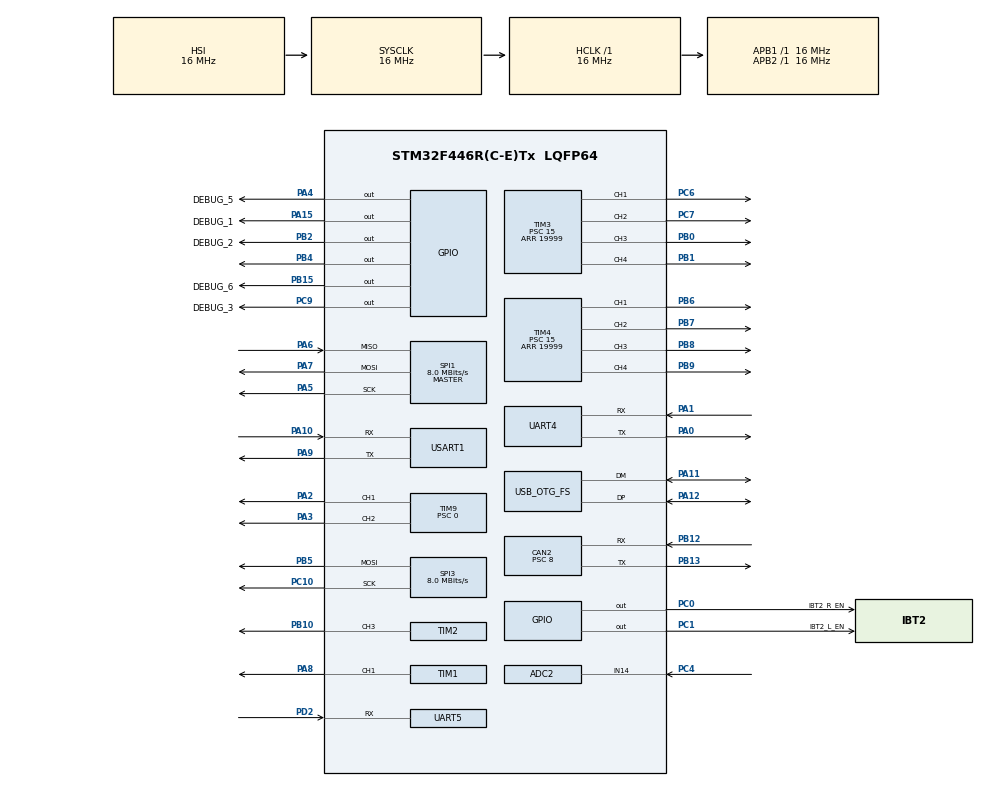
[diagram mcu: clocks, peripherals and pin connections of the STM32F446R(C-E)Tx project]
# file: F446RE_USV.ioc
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ADC2.Channel-2\#ChannelRegularConversion=ADC_CHANNEL_14
ADC2.ContinuousConvMode=ENABLE
ADC2.NbrOfConversionFlag=1
ADC2.Rank-2\#ChannelRegularConversion=1
ADC2.SamplingTime-2\#ChannelRegularConversion=ADC_SAMPLETIME_15CYCLES
CAN2.ABOM=DISABLE
CAN2.AWUM=DISABLE
CAN2.BS1=CAN_BS1_13TQ
CAN2.BS2=CAN_BS2_2TQ
CAN2.CalculateBaudRate=125000
CAN2.CalculateTimeBit=8000
CAN2.CalculateTimeQuantum=500.0
CAN2.Mode=CAN_MODE_NORMAL
CAN2.NART=DISABLE
CAN2.Prescaler=8
CAN2.SJW=CAN_SJW_1TQ
CAN2.TTCM=DISABLE
Dma.UART5_RX.0.Direction=DMA_PERIPH_TO_MEMORY
Dma.UART5_RX.0.FIFOMode=DMA_FIFOMODE_ENABLE
Dma.UART5_RX.0.FIFOThreshold=DMA_FIFO_THRESHOLD_FULL
Dma.UART5_RX.0.Instance=DMA1_Stream0
Dma.UART5_RX.0.MemBurst=DMA_MBURST_SINGLE
Dma.UART5_RX.0.MemDataAlignment=DMA_MDATAALIGN_BYTE
Dma.UART5_RX.0.MemInc=DMA_MINC_ENABLE
Dma.UART5_RX.0.Mode=DMA_NORMAL
Dma.UART5_RX.0.PeriphBurst=DMA_PBURST_SINGLE
Dma.UART5_RX.0.PeriphDataAlignment=DMA_PDATAALIGN_BYTE
Dma.UART5_RX.0.PeriphInc=DMA_PINC_DISABLE
Dma.UART5_RX.0.Priority=DMA_PRIORITY_HIGH
FREERTOS.Tasks01=defaultTask,24,128,StartDefaultTask,Default,NULL,Dynamic,NULL,NULL
FREERTOS.configENABLE_FPU=1
FREERTOS.configGENERATE_RUN_TIME_STATS=1
FREERTOS.configUSE_NEWLIB_REENTRANT=1
FREERTOS.configUSE_PREEMPTION=1
FREERTOS.configUSE_STATS_FORMATTING_FUNCTIONS=1
Mcu.Family=STM32F4
Mcu.Name=STM32F446R(C-E)Tx
Mcu.Package=LQFP64
PA4.GPIO_Label=DEBUG_5
PA4.Signal=GPIO_Output
NVIC.CAN2_RX0_IRQn=true\:5\:0\:false\:false\:true\:true\:true\:true\:true
NVIC.CAN2_RX1_IRQn=false
NVIC.DMA1_Stream0_IRQn=true\:5\:0\:false\:false\:true\:true\:true\:true\:true
NVIC.OTG_FS_IRQn=true\:5\:0\:false\:false\:true\:true\:false\:true\:true
NVIC.UART5_IRQn=true\:6\:0\:false\:false\:true\:true\:true\:true\:true
NVIC.PriorityGroup=NVIC_PRIORITYGROUP_4
NVIC.TIM8_TRG_COM_TIM14_IRQn=true\:15\:0\:false\:false\:true\:false\:false\:true\:true
NVIC.TimeBase=TIM8_TRG_COM_TIM14_IRQn
NVIC.TimeBaseIP=TIM14
PA0-WKUP.Mode=Asynchronous
PA0-WKUP.Signal=UART4_TX
PA1.Mode=Asynchronous
PA1.Signal=UART4_RX
PA10.Mode=Asynchronous
PA10.Signal=USART1_RX
PA11.Mode=Device_Only
PA11.Signal=USB_OTG_FS_DM
PA12.Mode=Device_Only
PA12.Signal=USB_OTG_FS_DP
PA13.Mode=Trace_Asynchronous_SW
PA13.Signal=SYS_JTMS-SWDIO
PA14.Mode=Trace_Asynchronous_SW
PA14.Signal=SYS_JTCK-SWCLK
PA15.GPIO_Label=DEBUG_1
PA15.Signal=GPIO_Output
PA3.Signal=S_TIM9_CH2
PA2.Signal=S_TIM9_CH1
PA5.Mode=Full_Duplex_Master
PA5.Signal=SPI1_SCK
PA6.Mode=Full_Duplex_Master
PA6.Signal=SPI1_MISO
PA7.Mode=Full_Duplex_Master
PA7.Signal=SPI1_MOSI
PA9.Mode=Asynchronous
PA9.Signal=USART1_TX
PB0.Signal=S_TIM3_CH3
PB1.Signal=S_TIM3_CH4
PB12.Mode=CAN_Activate
PB12.Signal=CAN2_RX
PB13.Mode=CAN_Activate
PB13.Signal=CAN2_TX
PB15.GPIO_Label=DEBUG_6
PB15.Signal=GPIO_Output
PB2.GPIO_Label=DEBUG_2
PB2.Signal=GPIO_Output
PB3.Mode=Trace_Asynchronous_SW
PB3.Signal=SYS_JTDO-SWO
PB4.Signal=GPIO_Output
PB5.Mode=TX_Only_Simplex_Unidirect_Master
PB5.Signal=SPI3_MOSI
PB6.Signal=S_TIM4_CH1
PB7.Signal=S_TIM4_CH2
PB8.Signal=S_TIM4_CH3
PB9.Signal=S_TIM4_CH4
PB10.Signal=S_TIM2_CH3
PA8.Signal=S_TIM1_CH1
PC10.Mode=TX_Only_Simplex_Unidirect_Master
PC10.Signal=SPI3_SCK
PC0.GPIO_Label=IBT2_R_EN
PC0.Signal=GPIO_Output
PC1.GPIO_Label=IBT2_L_EN
PC1.Signal=GPIO_Output
PC4.Signal=ADCx_IN14
PD2.Mode=Asynchronous
PD2.Signal=UART5_RX
PC6.Signal=S_TIM3_CH1
PC7.Signal=S_TIM3_CH2
PC9.GPIO_Label=DEBUG_3
PC9.Signal=GPIO_Output
PH0-OSC_IN.Mode=HSE-External-Clock-Source
PH0-OSC_IN.Signal=RCC_OSC_IN
ProjectManager.HeapSize=0x200
ProjectManager.StackSize=0x400
ProjectManager.TargetToolchain=STM32CubeIDE
RCC.48MHZClocksFreq_Value=48000000
RCC.AHBFreq_Value=16000000
RCC.APB1CLKDivider=RCC_HCLK_DIV1
RCC.APB1Freq_Value=16000000
RCC.APB1TimFreq_Value=16000000
RCC.APB2CLKDivider=RCC_HCLK_DIV1
RCC.APB2Freq_Value=16000000
RCC.APB2TimFreq_Value=16000000
RCC.CortexFreq_Value=16000000
RCC.HCLKFreq_Value=16000000
RCC.HSE_VALUE=8000000
RCC.HSI_VALUE=16000000
RCC.LSE_VALUE=32768
RCC.PLLM=8
RCC.PLLN=192
RCC.PLLQ=4
RCC.SYSCLKFreq_VALUE=16000000
RCC.SYSCLKSource=RCC_SYSCLKSOURCE_HSI
RCC.VCOOutputFreq_Value=192000000
SH.ADCx_IN14.0=ADC2_IN14,IN14
SH.S_TIM3_CH1.0=TIM3_CH1,PWM Generation1 CH1
SH.S_TIM3_CH2.0=TIM3_CH2,PWM Generation2 CH2
SH.S_TIM3_CH3.0=TIM3_CH3,PWM Generation3 CH3
SH.S_TIM3_CH4.0=TIM3_CH4,PWM Generation4 CH4
SH.S_TIM4_CH1.0=TIM4_CH1,PWM Generation1 CH1
SH.S_TIM4_CH2.0=TIM4_CH2,PWM Generation2 CH2
SH.S_TIM4_CH3.0=TIM4_CH3,PWM Generation3 CH3
SH.S_TIM4_CH4.0=TIM4_CH4,PWM Generation4 CH4
SH.S_TIM2_CH3.0=TIM2_CH3,PWM Generation3 CH3
SH.S_TIM1_CH1.0=TIM1_CH1,PWM Generation1 CH1
TIM1.AutoReloadPreload=TIM_AUTORELOAD_PRELOAD_ENABLE
TIM1.Channel-PWM\ Generation1\ CH1=TIM_CHANNEL_1
TIM1.ClockDivision=TIM_CLOCKDIVISION_DIV1
TIM1.Period=19999
TIM1.Prescaler=15
TIM1.RepetitionCounter=0
TIM2.AutoReloadPreload=TIM_AUTORELOAD_PRELOAD_ENABLE
TIM2.Channel-PWM\ Generation3\ CH3=TIM_CHANNEL_3
TIM2.ClockDivision=TIM_CLOCKDIVISION_DIV1
TIM2.Period=19999
TIM2.Prescaler=15
SH.S_TIM9_CH1.0=TIM9_CH1,PWM Generation1 CH1
SH.S_TIM9_CH2.0=TIM9_CH2,PWM Generation2 CH2
SPI1.CalculateBaudRate=8.0 MBits/s
SPI1.Direction=SPI_DIRECTION_2LINES
SPI1.Mode=SPI_MODE_MASTER
SPI1.VirtualType=VM_MASTER
SPI3.CalculateBaudRate=8.0 MBits/s
SPI3.Direction=SPI_DIRECTION_2LINES
SPI3.Mode=SPI_MODE_MASTER
SPI3.VirtualType=VM_MASTER
TIM9.AutoReloadPreload=TIM_AUTORELOAD_PRELOAD_ENABLE
TIM9.Channel-PWM\ Generation1\ CH1=TIM_CHANNEL_1
TIM9.Channel-PWM\ Generation2\ CH2=TIM_CHANNEL_2
TIM9.ClockDivision=TIM_CLOCKDIVISION_DIV1
TIM9.Period=799
TIM9.Prescaler=0
TIM13.Period=99
TIM3.AutoReloadPreload=TIM_AUTORELOAD_PRELOAD_ENABLE
TIM3.Channel-PWM\ Generation1\ CH1=TIM_CHANNEL_1
TIM3.Channel-PWM\ Generation2\ CH2=TIM_CHANNEL_2
TIM3.Channel-PWM\ Generation3\ CH3=TIM_CHANNEL_3
TIM3.Channel-PWM\ Generation4\ CH4=TIM_CHANNEL_4
TIM3.ClockDivision=TIM_CLOCKDIVISION_DIV1
TIM3.Period=19999
TIM3.Prescaler=15
TIM4.AutoReloadPreload=TIM_AUTORELOAD_PRELOAD_ENABLE
TIM4.Channel-PWM\ Generation1\ CH1=TIM_CHANNEL_1
TIM4.Channel-PWM\ Generation2\ CH2=TIM_CHANNEL_2
TIM4.Channel-PWM\ Generation3\ CH3=TIM_CHANNEL_3
TIM4.Channel-PWM\ Generation4\ CH4=TIM_CHANNEL_4
TIM4.ClockDivision=TIM_CLOCKDIVISION_DIV1
TIM4.Period=19999
TIM4.Prescaler=15
UART4.VirtualMode=Asynchronous
UART5.BaudRate=100000
UART5.Mode=MODE_RX
UART5.OverSampling=UART_OVERSAMPLING_8
UART5.Parity=PARITY_EVEN
UART5.StopBits=UART_STOPBITS_2
UART5.VirtualMode=Asynchronous
UART5.WordLength=WORDLENGTH_9B
USART1.VirtualMode=VM_ASYNC
USB_DEVICE.CLASS_NAME_FS=CDC
USB_DEVICE.VirtualMode-CDC_FS=Cdc
USB_DEVICE.VirtualModeFS=Cdc_FS
USB_OTG_FS.VirtualMode=Device_Only
VP_FREERTOS_VS_CMSIS_V2.Mode=CMSIS_V2
VP_SYS_VS_tim14.Mode=TIM14
VP_TIM9_VS_ClockSourceINT.Mode=Internal
VP_TIM13_VS_ClockSourceINT.Mode=Enable_Timer
VP_TIM3_VS_ClockSourceINT.Mode=Internal
VP_TIM4_VS_ClockSourceINT.Mode=Internal
VP_USB_DEVICE_VS_USB_DEVICE_CDC_FS.Mode=CDC_FS
board=custom
NVIC.TIM8_UP_TIM13_IRQn=true\:5\:0\:false\:false\:true\:false\:false\:true\:true
RCC.PLLP=RCC_PLLP_DIV2
TIM13.Prescaler=15

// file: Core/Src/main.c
/* USER CODE BEGIN Header */
/**
  ******************************************************************************
  * @file           : main.c
  * @brief          : Main program body
  ******************************************************************************
  * @attention
  *
  * <h2><center>&copy; Copyright (c) 2021 STMicroelectronics.
  * All rights reserved.</center></h2>
  *
  * This software component is licensed by ST under BSD 3-Clause license,
  * the "License"; You may not use this file except in compliance with the
  * License. You may obtain a copy of the License at:
  *                        opensource.org/licenses/BSD-3-Clause
  *
  ******************************************************************************
  */
/* USER CODE END Header */
#include "main.h"
#include "cmsis_os.h"
#include "usb_device.h"

/* USER CODE BEGIN Includes */
#include "device_selector.h"
#ifdef VANTTEC_BOAT
#include "Boat/boat_main.h"
#elif defined(VANTTEC_SUB)
#include "Sub/sub_main.h"
#endif
#include "SBUS/sbus.h"
#include "CAN/can_bus_task.h"
#include "CAN/can_bus_tx_tasks.h"
#include "CAN/can.h"
#include "PWM/pwm_out.h"
#include <stdio.h>
#include "heartbeat_led_task.h"
#include "SEGGER_RTT.h"
#include "SEGGER_SYSVIEW.h"

/* USER CODE END Includes */

ADC_HandleTypeDef hadc2;

CAN_HandleTypeDef hcan2;

SPI_HandleTypeDef hspi1;
SPI_HandleTypeDef hspi3;

TIM_HandleTypeDef htim3;
TIM_HandleTypeDef htim4;
TIM_HandleTypeDef htim2;
TIM_HandleTypeDef htim1;
TIM_HandleTypeDef htim9;
TIM_HandleTypeDef htim13;
static uint8_t usbClock48MHzReady;
extern volatile unsigned long ulHighFrequencyTimerTicks;

UART_HandleTypeDef huart4;
UART_HandleTypeDef huart5;
UART_HandleTypeDef huart1;
DMA_HandleTypeDef hdma_uart5_rx;

/* Definitions for defaultTask */
osThreadId_t defaultTaskHandle;
const osThreadAttr_t defaultTask_attributes = {
  .name = "defaultTask",
  .stack_size = 128 * 4,
  .priority = (osPriority_t) osPriorityNormal,
};
/* USER CODE BEGIN PV */
SBUS_Data sbusData;
osThreadId_t canTaskHandle;
const osThreadAttr_t canTask_attributes = {
  .name = "canTask",
  .stack_size = 128 * 4,
  .priority = (osPriority_t) osPriorityNormal,
};

#ifdef __GNUC__
#define PUTCHAR_PROTOTYPE int __io_putchar(int ch)
#else
#define PUTCHAR_PROTOTYPE int fputc(int ch, FILE *f)
#endif

PUTCHAR_PROTOTYPE
{
  send_can_debug_char(ch);
  //HAL_UART_Transmit(&huart1, (uint8_t *)&ch, 1, HAL_MAX_DELAY);
  return ch;
}

osThreadId_t heartbeatTaskHandle;
const osThreadAttr_t heartbeatTask_attributes = {
	.name = "heartbeatTask",
	.stack_size = 128 * 4,
	.priority = (osPriority_t) osPriorityLow,
};
/* USER CODE END PV */

void SystemClock_Config(void);
static void MX_GPIO_Init(void);
static void MX_DMA_Init(void);
static void MX_SPI1_Init(void);
static void MX_SPI3_Init(void);
static void MX_TIM3_Init(void);
static void MX_TIM4_Init(void);
static void MX_TIM2_Init(void);
static void MX_TIM1_Init(void);
static void MX_TIM9_Init(void);
static void MX_CAN2_Init(void);
static void MX_UART5_Init(void);
static void MX_UART4_Init(void);
static void MX_ADC2_Init(void);
static void MX_USART1_UART_Init(void);
static void MX_TIM13_Init(void);
void StartDefaultTask(void *argument);

int main(void)
{

  /* MCU Configuration--------------------------------------------------------*/

  /* Reset of all peripherals, Initializes the Flash interface and the Systick. */
  HAL_Init();

  /* Configure the system clock */
  SystemClock_Config();

  /* Initialize all configured peripherals */
  MX_GPIO_Init();
  MX_DMA_Init();
  MX_SPI1_Init();
  MX_SPI3_Init();
  MX_TIM2_Init();
  MX_TIM1_Init();
  MX_TIM3_Init();
  MX_TIM4_Init();
  MX_TIM9_Init();
  MX_CAN2_Init();
  MX_UART5_Init();
  MX_UART4_Init();
  MX_ADC2_Init();
  MX_USART1_UART_Init();
  MX_TIM13_Init();
  /* USER CODE BEGIN 2 */

  HAL_StatusTypeDef ret = SBUS_Init(&sbusData, &huart5);
  if(ret != HAL_OK) Error_Handler();
  pwm_init();
  /* USER CODE END 2 */

  /* Init scheduler */
  osKernelInitialize();
  can_init();
  /* Create the mutex(es) */

  /* Create the thread(s) */
  /* creation of defaultTask */
  defaultTaskHandle = osThreadNew(StartDefaultTask, NULL, &defaultTask_attributes);

  /* USER CODE BEGIN RTOS_THREADS */
#ifdef VANTTEC_BOAT
  createTasks_boat();
#elif defined(VANTTEC_SUB)
  createTasks_sub();
#endif
  canTaskHandle = osThreadNew(can_tx_task, NULL, &canTask_attributes);
  //heartbeatTaskHandle = osThreadNew(heartbeat_task, NULL, heartbeatTask_attributes);
  start_can_tx_tasks();
  SEGGER_RTT_Init();
  SEGGER_SYSVIEW_Conf();
  SEGGER_RTT_WriteString(0, "Hello World from SEGGER!\r\n");

  /* add threads, ... */
  /* USER CODE END RTOS_THREADS */

  /* Start scheduler */
  osKernelStart();
  /* We should never get here as control is now taken by the scheduler */
  /* Infinite loop */
  while (1)
  {

  }
}

void SystemClock_Config(void)
{
  RCC_OscInitTypeDef RCC_OscInitStruct = {0};
  RCC_ClkInitTypeDef RCC_ClkInitStruct = {0};

  /** Configure the main internal regulator output voltage
  */
  __HAL_RCC_PWR_CLK_ENABLE();
  __HAL_PWR_VOLTAGESCALING_CONFIG(PWR_REGULATOR_VOLTAGE_SCALE3);

  /* Run at the 16 MHz HSI rate used by the working CAN44 project. */
  RCC_OscInitStruct.OscillatorType = RCC_OSCILLATORTYPE_HSI;
  RCC_OscInitStruct.HSIState = RCC_HSI_ON;
  RCC_OscInitStruct.HSICalibrationValue = RCC_HSICALIBRATION_DEFAULT;
  RCC_OscInitStruct.PLL.PLLState = RCC_PLL_NONE;
  if (HAL_RCC_OscConfig(&RCC_OscInitStruct) != HAL_OK)
  {
    Error_Handler();
  }

  /** Initializes the CPU, AHB and APB buses clocks
  */
  RCC_ClkInitStruct.ClockType = RCC_CLOCKTYPE_HCLK|RCC_CLOCKTYPE_SYSCLK
                              |RCC_CLOCKTYPE_PCLK1|RCC_CLOCKTYPE_PCLK2;
  RCC_ClkInitStruct.SYSCLKSource = RCC_SYSCLKSOURCE_HSI;
  RCC_ClkInitStruct.AHBCLKDivider = RCC_SYSCLK_DIV1;
  RCC_ClkInitStruct.APB1CLKDivider = RCC_HCLK_DIV1;
  RCC_ClkInitStruct.APB2CLKDivider = RCC_HCLK_DIV1;

  if (HAL_RCC_ClockConfig(&RCC_ClkInitStruct, FLASH_LATENCY_0) != HAL_OK)
  {
    Error_Handler();
  }

  /*
   * USB FS needs 48 MHz. Try the Nucleo's optional 8 MHz HSE input for PLLQ
   * while leaving SYSCLK and both APB buses at 16 MHz. CAN and the application
   * remain on HSI if that external clock is unavailable.
   */
  RCC_OscInitStruct = (RCC_OscInitTypeDef){0};
  RCC_OscInitStruct.OscillatorType = RCC_OSCILLATORTYPE_HSE;
  RCC_OscInitStruct.HSEState = RCC_HSE_BYPASS;
  RCC_OscInitStruct.PLL.PLLState = RCC_PLL_ON;
  RCC_OscInitStruct.PLL.PLLSource = RCC_PLLSOURCE_HSE;
  RCC_OscInitStruct.PLL.PLLM = 8;
  RCC_OscInitStruct.PLL.PLLN = 192;
  RCC_OscInitStruct.PLL.PLLP = RCC_PLLP_DIV2;
  RCC_OscInitStruct.PLL.PLLQ = 4;
  usbClock48MHzReady = (HAL_RCC_OscConfig(&RCC_OscInitStruct) == HAL_OK);
}

static void MX_ADC2_Init(void)
{

  ADC_ChannelConfTypeDef sConfig = {0};

  /** Configure the global features of the ADC (Clock, Resolution, Data Alignment and number of conversion)
  */
  hadc2.Instance = ADC2;
  hadc2.Init.ClockPrescaler = ADC_CLOCK_SYNC_PCLK_DIV4;
  hadc2.Init.Resolution = ADC_RESOLUTION_12B;
  hadc2.Init.ScanConvMode = DISABLE;
  hadc2.Init.ContinuousConvMode = ENABLE;
  hadc2.Init.DiscontinuousConvMode = DISABLE;
  hadc2.Init.ExternalTrigConvEdge = ADC_EXTERNALTRIGCONVEDGE_NONE;
  hadc2.Init.ExternalTrigConv = ADC_SOFTWARE_START;
  hadc2.Init.DataAlign = ADC_DATAALIGN_RIGHT;
  hadc2.Init.NbrOfConversion = 1;
  hadc2.Init.DMAContinuousRequests = DISABLE;
  hadc2.Init.EOCSelection = ADC_EOC_SINGLE_CONV;
  if (HAL_ADC_Init(&hadc2) != HAL_OK)
  {
    Error_Handler();
  }

  /** Configure for the selected ADC regular channel its corresponding rank in the sequencer and its sample time.
  */
  sConfig.Channel = ADC_CHANNEL_14;
  sConfig.Rank = 1;
  sConfig.SamplingTime = ADC_SAMPLETIME_15CYCLES;
  if (HAL_ADC_ConfigChannel(&hadc2, &sConfig) != HAL_OK)
  {
    Error_Handler();
  }

}

static void MX_CAN2_Init(void)
{

  hcan2.Instance = CAN2;
  hcan2.Init.Prescaler = 8;
  hcan2.Init.Mode = CAN_MODE_NORMAL;
  hcan2.Init.SyncJumpWidth = CAN_SJW_1TQ;
  hcan2.Init.TimeSeg1 = CAN_BS1_13TQ;
  hcan2.Init.TimeSeg2 = CAN_BS2_2TQ;
  hcan2.Init.TimeTriggeredMode = DISABLE;
  hcan2.Init.AutoBusOff = DISABLE;
  hcan2.Init.AutoWakeUp = DISABLE;
  hcan2.Init.AutoRetransmission = DISABLE;
  hcan2.Init.ReceiveFifoLocked = DISABLE;
  hcan2.Init.TransmitFifoPriority = DISABLE;
  if (HAL_CAN_Init(&hcan2) != HAL_OK)
  {
    Error_Handler();
  }

}

static void MX_SPI1_Init(void)
{

  /* SPI1 parameter configuration*/
  hspi1.Instance = SPI1;
  hspi1.Init.Mode = SPI_MODE_MASTER;
  hspi1.Init.Direction = SPI_DIRECTION_2LINES;
  hspi1.Init.DataSize = SPI_DATASIZE_8BIT;
  hspi1.Init.CLKPolarity = SPI_POLARITY_LOW;
  hspi1.Init.CLKPhase = SPI_PHASE_1EDGE;
  hspi1.Init.NSS = SPI_NSS_SOFT;
  hspi1.Init.BaudRatePrescaler = SPI_BAUDRATEPRESCALER_2;
  hspi1.Init.FirstBit = SPI_FIRSTBIT_MSB;
  hspi1.Init.TIMode = SPI_TIMODE_DISABLE;
  hspi1.Init.CRCCalculation = SPI_CRCCALCULATION_DISABLE;
  hspi1.Init.CRCPolynomial = 10;
  if (HAL_SPI_Init(&hspi1) != HAL_OK)
  {
    Error_Handler();
  }

}

static void MX_SPI3_Init(void)
{

  /* SPI3 parameter configuration*/
  hspi3.Instance = SPI3;
  hspi3.Init.Mode = SPI_MODE_MASTER;
  hspi3.Init.Direction = SPI_DIRECTION_2LINES;
  hspi3.Init.DataSize = SPI_DATASIZE_8BIT;
  hspi3.Init.CLKPolarity = SPI_POLARITY_LOW;
  hspi3.Init.CLKPhase = SPI_PHASE_1EDGE;
  hspi3.Init.NSS = SPI_NSS_SOFT;
  hspi3.Init.BaudRatePrescaler = SPI_BAUDRATEPRESCALER_2;
  hspi3.Init.FirstBit = SPI_FIRSTBIT_MSB;
  hspi3.Init.TIMode = SPI_TIMODE_DISABLE;
  hspi3.Init.CRCCalculation = SPI_CRCCALCULATION_DISABLE;
  hspi3.Init.CRCPolynomial = 10;
  if (HAL_SPI_Init(&hspi3) != HAL_OK)
  {
    Error_Handler();
  }

}

static void MX_TIM2_Init(void)
{
  TIM_ClockConfigTypeDef sClockSourceConfig = {0};
  TIM_MasterConfigTypeDef sMasterConfig = {0};
  TIM_OC_InitTypeDef sConfigOC = {0};

  htim2.Instance = TIM2;
  htim2.Init.Prescaler = 15;
  htim2.Init.CounterMode = TIM_COUNTERMODE_UP;
  htim2.Init.Period = 19999;
  htim2.Init.ClockDivision = TIM_CLOCKDIVISION_DIV1;
  htim2.Init.AutoReloadPreload = TIM_AUTORELOAD_PRELOAD_ENABLE;
  if (HAL_TIM_Base_Init(&htim2) != HAL_OK) Error_Handler();

  sClockSourceConfig.ClockSource = TIM_CLOCKSOURCE_INTERNAL;
  if (HAL_TIM_ConfigClockSource(&htim2, &sClockSourceConfig) != HAL_OK) Error_Handler();
  if (HAL_TIM_PWM_Init(&htim2) != HAL_OK) Error_Handler();

  sMasterConfig.MasterOutputTrigger = TIM_TRGO_RESET;
  sMasterConfig.MasterSlaveMode = TIM_MASTERSLAVEMODE_DISABLE;
  if (HAL_TIMEx_MasterConfigSynchronization(&htim2, &sMasterConfig) != HAL_OK) Error_Handler();

  sConfigOC.OCMode = TIM_OCMODE_PWM1;
  sConfigOC.Pulse = 1500;
  sConfigOC.OCPolarity = TIM_OCPOLARITY_HIGH;
  sConfigOC.OCFastMode = TIM_OCFAST_DISABLE;
  if (HAL_TIM_PWM_ConfigChannel(&htim2, &sConfigOC, TIM_CHANNEL_3) != HAL_OK) Error_Handler();

  HAL_TIM_MspPostInit(&htim2);
}

static void MX_TIM1_Init(void)
{
  TIM_ClockConfigTypeDef sClockSourceConfig = {0};
  TIM_MasterConfigTypeDef sMasterConfig = {0};
  TIM_OC_InitTypeDef sConfigOC = {0};

  htim1.Instance = TIM1;
  htim1.Init.Prescaler = 15;
  htim1.Init.CounterMode = TIM_COUNTERMODE_UP;
  htim1.Init.Period = 19999;
  htim1.Init.ClockDivision = TIM_CLOCKDIVISION_DIV1;
  htim1.Init.RepetitionCounter = 0;
  htim1.Init.AutoReloadPreload = TIM_AUTORELOAD_PRELOAD_ENABLE;
  if (HAL_TIM_Base_Init(&htim1) != HAL_OK) Error_Handler();

  sClockSourceConfig.ClockSource = TIM_CLOCKSOURCE_INTERNAL;
  if (HAL_TIM_ConfigClockSource(&htim1, &sClockSourceConfig) != HAL_OK) Error_Handler();
  if (HAL_TIM_PWM_Init(&htim1) != HAL_OK) Error_Handler();

  sMasterConfig.MasterOutputTrigger = TIM_TRGO_RESET;
  sMasterConfig.MasterSlaveMode = TIM_MASTERSLAVEMODE_DISABLE;
  if (HAL_TIMEx_MasterConfigSynchronization(&htim1, &sMasterConfig) != HAL_OK) Error_Handler();

  sConfigOC.OCMode = TIM_OCMODE_PWM1;
  sConfigOC.Pulse = 1500;
  sConfigOC.OCPolarity = TIM_OCPOLARITY_HIGH;
  sConfigOC.OCNPolarity = TIM_OCNPOLARITY_HIGH;
  sConfigOC.OCFastMode = TIM_OCFAST_DISABLE;
  sConfigOC.OCIdleState = TIM_OCIDLESTATE_RESET;
  sConfigOC.OCNIdleState = TIM_OCNIDLESTATE_RESET;
  if (HAL_TIM_PWM_ConfigChannel(&htim1, &sConfigOC, TIM_CHANNEL_1) != HAL_OK) Error_Handler();

  HAL_TIM_MspPostInit(&htim1);
}

static void MX_TIM3_Init(void)
{

  TIM_ClockConfigTypeDef sClockSourceConfig = {0};
  TIM_MasterConfigTypeDef sMasterConfig = {0};
  TIM_OC_InitTypeDef sConfigOC = {0};

  htim3.Instance = TIM3;
  htim3.Init.Prescaler = 15;
  htim3.Init.CounterMode = TIM_COUNTERMODE_UP;
  htim3.Init.Period = 19999;
  htim3.Init.ClockDivision = TIM_CLOCKDIVISION_DIV1;
  htim3.Init.AutoReloadPreload = TIM_AUTORELOAD_PRELOAD_ENABLE;
  if (HAL_TIM_Base_Init(&htim3) != HAL_OK)
  {
    Error_Handler();
  }
  sClockSourceConfig.ClockSource = TIM_CLOCKSOURCE_INTERNAL;
  if (HAL_TIM_ConfigClockSource(&htim3, &sClockSourceConfig) != HAL_OK)
  {
    Error_Handler();
  }
  if (HAL_TIM_PWM_Init(&htim3) != HAL_OK)
  {
    Error_Handler();
  }
  sMasterConfig.MasterOutputTrigger = TIM_TRGO_RESET;
  sMasterConfig.MasterSlaveMode = TIM_MASTERSLAVEMODE_DISABLE;
  if (HAL_TIMEx_MasterConfigSynchronization(&htim3, &sMasterConfig) != HAL_OK)
  {
    Error_Handler();
  }
  sConfigOC.OCMode = TIM_OCMODE_PWM1;
  sConfigOC.Pulse = 0;
  sConfigOC.OCPolarity = TIM_OCPOLARITY_HIGH;
  sConfigOC.OCFastMode = TIM_OCFAST_DISABLE;
  if (HAL_TIM_PWM_ConfigChannel(&htim3, &sConfigOC, TIM_CHANNEL_1) != HAL_OK)
  {
    Error_Handler();
  }
  if (HAL_TIM_PWM_ConfigChannel(&htim3, &sConfigOC, TIM_CHANNEL_2) != HAL_OK)
  {
    Error_Handler();
  }
  if (HAL_TIM_PWM_ConfigChannel(&htim3, &sConfigOC, TIM_CHANNEL_3) != HAL_OK)
  {
    Error_Handler();
  }
  if (HAL_TIM_PWM_ConfigChannel(&htim3, &sConfigOC, TIM_CHANNEL_4) != HAL_OK)
  {
    Error_Handler();
  }
  HAL_TIM_MspPostInit(&htim3);

}

static void MX_TIM4_Init(void)
{

  TIM_ClockConfigTypeDef sClockSourceConfig = {0};
  TIM_MasterConfigTypeDef sMasterConfig = {0};
  TIM_OC_InitTypeDef sConfigOC = {0};

  htim4.Instance = TIM4;
  htim4.Init.Prescaler = 15;
  htim4.Init.CounterMode = TIM_COUNTERMODE_UP;
  htim4.Init.Period = 19999; // 50 Hz PWM (20ms period) for Thruster ESCs and Servos
  htim4.Init.ClockDivision = TIM_CLOCKDIVISION_DIV1;
  htim4.Init.AutoReloadPreload = TIM_AUTORELOAD_PRELOAD_ENABLE;
  if (HAL_TIM_Base_Init(&htim4) != HAL_OK)
  {
    Error_Handler();
  }
  sClockSourceConfig.ClockSource = TIM_CLOCKSOURCE_INTERNAL;
  if (HAL_TIM_ConfigClockSource(&htim4, &sClockSourceConfig) != HAL_OK)
  {
    Error_Handler();
  }
  if (HAL_TIM_PWM_Init(&htim4) != HAL_OK)
  {
    Error_Handler();
  }
  sMasterConfig.MasterOutputTrigger = TIM_TRGO_RESET;
  sMasterConfig.MasterSlaveMode = TIM_MASTERSLAVEMODE_DISABLE;
  if (HAL_TIMEx_MasterConfigSynchronization(&htim4, &sMasterConfig) != HAL_OK)
  {
    Error_Handler();
  }
  sConfigOC.OCMode = TIM_OCMODE_PWM1;
  sConfigOC.Pulse = 0;
  sConfigOC.OCPolarity = TIM_OCPOLARITY_HIGH;
  sConfigOC.OCFastMode = TIM_OCFAST_DISABLE;
  if (HAL_TIM_PWM_ConfigChannel(&htim4, &sConfigOC, TIM_CHANNEL_1) != HAL_OK)
  {
    Error_Handler();
  }
  if (HAL_TIM_PWM_ConfigChannel(&htim4, &sConfigOC, TIM_CHANNEL_2) != HAL_OK)
  {
    Error_Handler();
  }
  if (HAL_TIM_PWM_ConfigChannel(&htim4, &sConfigOC, TIM_CHANNEL_3) != HAL_OK)
  {
    Error_Handler();
  }
  if (HAL_TIM_PWM_ConfigChannel(&htim4, &sConfigOC, TIM_CHANNEL_4) != HAL_OK)
  {
    Error_Handler();
  }
  HAL_TIM_MspPostInit(&htim4);

}

static void MX_TIM9_Init(void)
{
  TIM_ClockConfigTypeDef sClockSourceConfig = {0};
  TIM_MasterConfigTypeDef sMasterConfig = {0};
  TIM_OC_InitTypeDef sConfigOC = {0};

  htim9.Instance = TIM9;
  htim9.Init.Prescaler = 0;
  htim9.Init.CounterMode = TIM_COUNTERMODE_UP;
  htim9.Init.Period = 799; // 16 MHz / 800 = 20 kHz for the IBT-2.
  htim9.Init.ClockDivision = TIM_CLOCKDIVISION_DIV1;
  htim9.Init.AutoReloadPreload = TIM_AUTORELOAD_PRELOAD_ENABLE;
  if (HAL_TIM_Base_Init(&htim9) != HAL_OK) Error_Handler();

  sClockSourceConfig.ClockSource = TIM_CLOCKSOURCE_INTERNAL;
  if (HAL_TIM_ConfigClockSource(&htim9, &sClockSourceConfig) != HAL_OK) Error_Handler();
  if (HAL_TIM_PWM_Init(&htim9) != HAL_OK) Error_Handler();

  sMasterConfig.MasterOutputTrigger = TIM_TRGO_RESET;
  sMasterConfig.MasterSlaveMode = TIM_MASTERSLAVEMODE_DISABLE;
  if (HAL_TIMEx_MasterConfigSynchronization(&htim9, &sMasterConfig) != HAL_OK) Error_Handler();

  sConfigOC.OCMode = TIM_OCMODE_PWM1;
  sConfigOC.Pulse = 0;
  sConfigOC.OCPolarity = TIM_OCPOLARITY_HIGH;
  sConfigOC.OCFastMode = TIM_OCFAST_DISABLE;
  if (HAL_TIM_PWM_ConfigChannel(&htim9, &sConfigOC, TIM_CHANNEL_1) != HAL_OK) Error_Handler();
  if (HAL_TIM_PWM_ConfigChannel(&htim9, &sConfigOC, TIM_CHANNEL_2) != HAL_OK) Error_Handler();

  HAL_TIM_MspPostInit(&htim9);
}

static void MX_TIM13_Init(void)
{

  htim13.Instance = TIM13;
  htim13.Init.Prescaler = 15;
  htim13.Init.CounterMode = TIM_COUNTERMODE_UP;
  htim13.Init.Period = 99;
  htim13.Init.ClockDivision = TIM_CLOCKDIVISION_DIV1;
  htim13.Init.AutoReloadPreload = TIM_AUTORELOAD_PRELOAD_DISABLE;
  if (HAL_TIM_Base_Init(&htim13) != HAL_OK)
  {
    Error_Handler();
  }

}

static void MX_UART4_Init(void)
{

  huart4.Instance = UART4;
  huart4.Init.BaudRate = 115200;
  huart4.Init.WordLength = UART_WORDLENGTH_8B;
  huart4.Init.StopBits = UART_STOPBITS_1;
  huart4.Init.Parity = UART_PARITY_NONE;
  huart4.Init.Mode = UART_MODE_TX_RX;
  huart4.Init.HwFlowCtl = UART_HWCONTROL_NONE;
  huart4.Init.OverSampling = UART_OVERSAMPLING_16;
  if (HAL_UART_Init(&huart4) != HAL_OK)
  {
    Error_Handler();
  }

}

static void MX_UART5_Init(void)
{

  huart5.Instance = UART5;
  huart5.Init.BaudRate = 100000;
  huart5.Init.WordLength = UART_WORDLENGTH_9B;
  huart5.Init.StopBits = UART_STOPBITS_2;
  huart5.Init.Parity = UART_PARITY_EVEN;
  huart5.Init.Mode = UART_MODE_RX;
  huart5.Init.HwFlowCtl = UART_HWCONTROL_NONE;
  huart5.Init.OverSampling = UART_OVERSAMPLING_8;
  if (HAL_UART_Init(&huart5) != HAL_OK)
  {
    Error_Handler();
  }

}

static void MX_USART1_UART_Init(void)
{

  huart1.Instance = USART1;
  huart1.Init.BaudRate = 115200;
  huart1.Init.WordLength = UART_WORDLENGTH_8B;
  huart1.Init.StopBits = UART_STOPBITS_1;
  huart1.Init.Parity = UART_PARITY_NONE;
  huart1.Init.Mode = UART_MODE_TX_RX;
  huart1.Init.HwFlowCtl = UART_HWCONTROL_NONE;
  huart1.Init.OverSampling = UART_OVERSAMPLING_16;
  if (HAL_UART_Init(&huart1) != HAL_OK)
  {
    Error_Handler();
  }

}

static void MX_DMA_Init(void)
{

  /* DMA controller clock enable */
  __HAL_RCC_DMA1_CLK_ENABLE();

  /* UART5 RX DMA interrupt configuration */
  HAL_NVIC_SetPriority(DMA1_Stream0_IRQn, 5, 0);
  HAL_NVIC_EnableIRQ(DMA1_Stream0_IRQn);

}

static void MX_GPIO_Init(void)
{
  GPIO_InitTypeDef GPIO_InitStruct = {0};

  /* GPIO Ports Clock Enable */
  __HAL_RCC_GPIOC_CLK_ENABLE();
  __HAL_RCC_GPIOH_CLK_ENABLE();
  __HAL_RCC_GPIOA_CLK_ENABLE();
  __HAL_RCC_GPIOB_CLK_ENABLE();
  __HAL_RCC_GPIOD_CLK_ENABLE();

  /*Configure GPIO pin Output Level */
  HAL_GPIO_WritePin(DEBUG_5_GPIO_Port, DEBUG_5_Pin, GPIO_PIN_RESET);
  HAL_GPIO_WritePin(GPIOC, IBT2_R_EN_Pin | IBT2_L_EN_Pin, GPIO_PIN_RESET);

  /*Configure GPIO pin Output Level */
  HAL_GPIO_WritePin(GPIOA, DEBUG_1_Pin, GPIO_PIN_RESET);

  /*Configure GPIO pin Output Level */
  HAL_GPIO_WritePin(GPIOB, DEBUG_2_Pin|DEBUG_6_Pin|GPIO_PIN_4, GPIO_PIN_RESET);

  /*Configure GPIO pin : DEBUG_5_Pin */
  GPIO_InitStruct.Pin = DEBUG_5_Pin;
  GPIO_InitStruct.Mode = GPIO_MODE_OUTPUT_PP;
  GPIO_InitStruct.Pull = GPIO_NOPULL;
  GPIO_InitStruct.Speed = GPIO_SPEED_FREQ_LOW;
  HAL_GPIO_Init(DEBUG_5_GPIO_Port, &GPIO_InitStruct);

  /*Configure GPIO pins : PC0 PC1 (IBT-2 enables) */
  GPIO_InitStruct.Pin = IBT2_R_EN_Pin | IBT2_L_EN_Pin;
  GPIO_InitStruct.Mode = GPIO_MODE_OUTPUT_PP;
  GPIO_InitStruct.Pull = GPIO_NOPULL;
  GPIO_InitStruct.Speed = GPIO_SPEED_FREQ_LOW;
  HAL_GPIO_Init(GPIOC, &GPIO_InitStruct);

  /*Configure GPIO pin : DEBUG_1_Pin */
  GPIO_InitStruct.Pin = DEBUG_1_Pin;
  GPIO_InitStruct.Mode = GPIO_MODE_OUTPUT_PP;
  GPIO_InitStruct.Pull = GPIO_NOPULL;
  GPIO_InitStruct.Speed = GPIO_SPEED_FREQ_LOW;
  HAL_GPIO_Init(GPIOA, &GPIO_InitStruct);

  /*Configure GPIO pins : DEBUG_2_Pin DEBUG_6_Pin PB4 */
  GPIO_InitStruct.Pin = DEBUG_2_Pin|DEBUG_6_Pin|GPIO_PIN_4;
  GPIO_InitStruct.Mode = GPIO_MODE_OUTPUT_PP;
  GPIO_InitStruct.Pull = GPIO_NOPULL;
  GPIO_InitStruct.Speed = GPIO_SPEED_FREQ_LOW;
  HAL_GPIO_Init(GPIOB, &GPIO_InitStruct);

}

/* USER CODE BEGIN 4 */
long i = 0;
long j = 0;

static float pwm_map(float x, float in_min, float in_max, float out_min, float out_max) {
  return (x - in_min) * (out_max - out_min) / (in_max - in_min) + out_min;
}
/* USER CODE END 4 */

void StartDefaultTask(void *argument)
{
  if (usbClock48MHzReady)
  {
    MX_USB_DEVICE_Init();
  }
  /* USER CODE BEGIN 5 */

  /* Infinite loop */
  for(;;)
  {
    //for(int i = 0; i < 8; i++)
    		//pwm_set(i, -0.21);
	  osDelay(100000);
  }
  /* USER CODE END 5 */
}

void HAL_TIM_PeriodElapsedCallback(TIM_HandleTypeDef *htim)
{
  if (htim->Instance == TIM14) {
    HAL_IncTick();
  }
  else if (htim->Instance == TIM13) {
    ulHighFrequencyTimerTicks++;
  }
}

void Error_Handler(void)
{
  __disable_irq();
  while (1)
  {
  }
}

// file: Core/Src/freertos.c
/* USER CODE BEGIN Header */
/**
  ******************************************************************************
  * File Name          : freertos.c
  * Description        : Code for freertos applications
  ******************************************************************************
  * @attention
  *
  * <h2><center>&copy; Copyright (c) 2021 STMicroelectronics.
  * All rights reserved.</center></h2>
  *
  * This software component is licensed by ST under Ultimate Liberty license
  * SLA0044, the "License"; You may not use this file except in compliance with
  * the License. You may obtain a copy of the License at:
  *                             www.st.com/SLA0044
  *
  ******************************************************************************
  */
/* USER CODE END Header */

#include "FreeRTOS.h"
#include "task.h"
#include "main.h"

/* Hook prototypes */
void configureTimerForRunTimeStats(void);
unsigned long getRunTimeCounterValue(void);

/* USER CODE BEGIN 1 */
extern TIM_HandleTypeDef htim13;
volatile unsigned long ulHighFrequencyTimerTicks;
/* Functions needed when configGENERATE_RUN_TIME_STATS is on */
__weak void configureTimerForRunTimeStats(void)
{
	ulHighFrequencyTimerTicks = 0;
	HAL_TIM_Base_Start_IT(&htim13);
}

__weak unsigned long getRunTimeCounterValue(void)
{
return ulHighFrequencyTimerTicks;
}
/* USER CODE END 1 */
